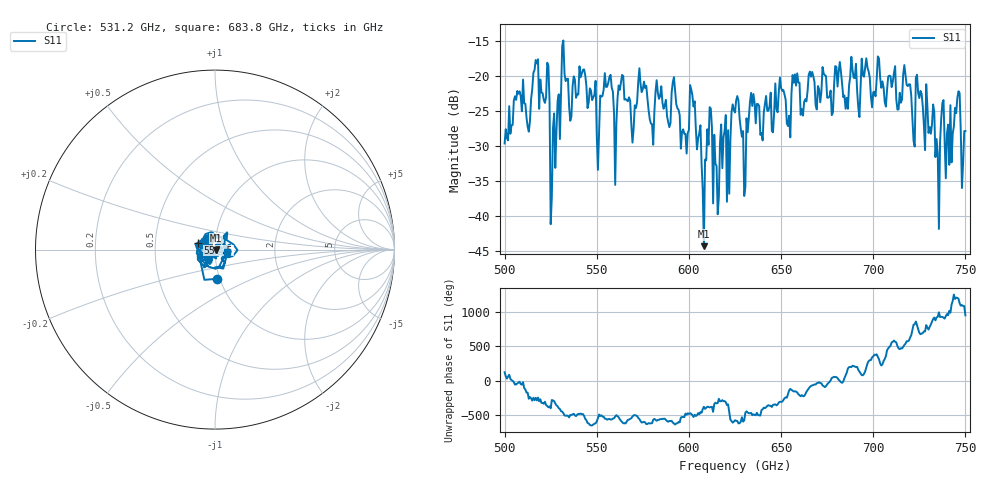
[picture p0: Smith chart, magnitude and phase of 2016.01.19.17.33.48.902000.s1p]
!Created with skrf (http://scikit-rf.org).
# GHz S RI R 50.0
!freq ReS11 ImS11
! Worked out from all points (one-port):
!   401 points, 500 GHz to 750 GHz, reference 50 ohm
!   lowest |S11| = -44.3 dB at 608.1 GHz (marker M1), VSWR 1.01, Z = 50.6 - j0.181 ohm
!   |S11| at or under -10 dB: start of sweep to end of sweep
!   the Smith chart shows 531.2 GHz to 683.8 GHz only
!   S11 on the Smith chart (normalised r, x): 531.2 GHz: 0.97, -0.33; 557.5 GHz: 0.83, +0.06; 683.8 GHz: 1.15, -0.03
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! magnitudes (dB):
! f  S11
! 500 GHz  -29.7
! 506.9 GHz  -22.2
! 513.1 GHz  -28.0
! 516.9 GHz  -17.8
! 523.1 GHz  -18.1
! 526.2 GHz  -27.4
! 531.2 GHz  -15.7
! 541.9 GHz  -19.7
! 551.2 GHz  -28.0
! 557.5 GHz  -19.9
! 560 GHz  -35.6
! 562.5 GHz  -22.0
! 593.8 GHz  -24.6
! 598.8 GHz  -31.1
! 601.9 GHz  -22.8
! 608.1 GHz  -44.3
! 611.2 GHz  -24.5
! 615.6 GHz  -39.7
! 625 GHz  -25.2
! 629.4 GHz  -27.9
! 634.4 GHz  -24.3
! 656.2 GHz  -19.9
! 683.8 GHz  -23.1
! 687.5 GHz  -20.2
! 718.8 GHz  -21.5
! 735 GHz  -31.1
! 745.6 GHz  -23.2
! 750 GHz  -27.9
